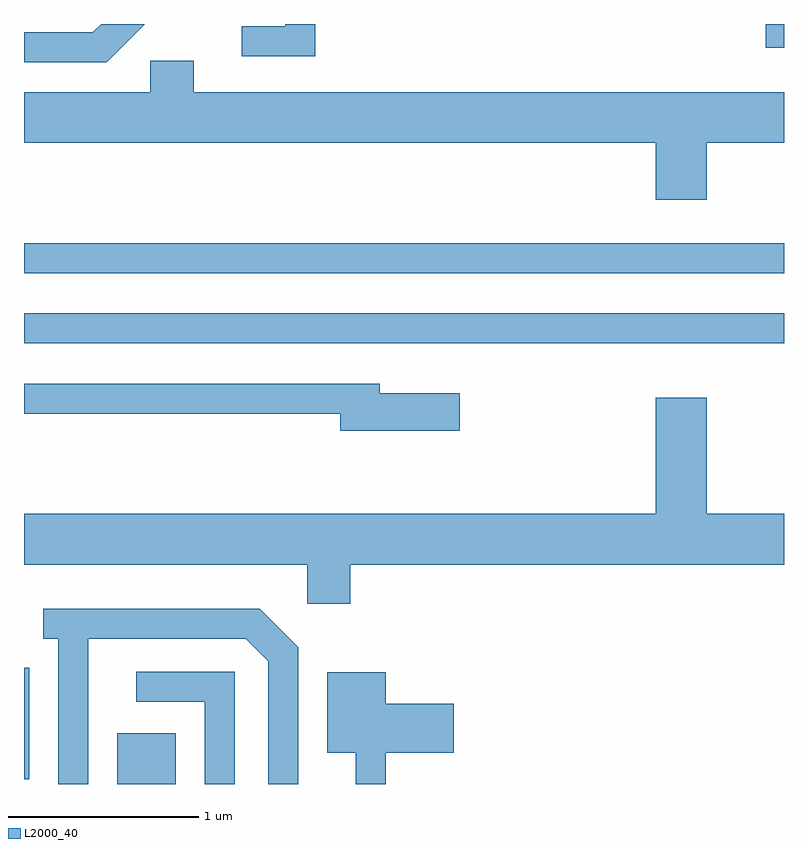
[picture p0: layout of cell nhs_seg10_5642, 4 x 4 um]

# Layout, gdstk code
import gdstk
lib = gdstk.Library(unit=1e-6, precision=1e-09)
def R(c, l, rs):  # rectangles x0, y0, x1, y1
    for r in rs: c.add(gdstk.rectangle(r[:2], r[2:], *l))
def P(c, l, *ps):  # polygons
    for p in ps: c.add(gdstk.Polygon(p, *l))
L2000_40 = (2000, 40)

nhs_seg10_5642 = lib.new_cell('nhs_seg10_5642')
R(nhs_seg10_5642, L2000_40, [(352.101,2130.522,352.409,2130.789), (351.611,2130.548,351.639,2131.134), (351.611,2132.841,355.611,2132.999), (351.611,2133.211,355.611,2133.369), (355.516,2134.396,355.611,2134.522)])
P(nhs_seg10_5642, L2000_40, [(353.144,2134.522),(352.986,2134.522),(352.986,2134.509),(352.758,2134.509),(352.758,2134.351),(353.144,2134.351)],
  [(352.247,2134.522),(352.017,2134.522),(351.974,2134.479),(351.611,2134.479),(351.611,2134.321),(352.047,2134.321)],
  [(355.204,2133.896),(355.611,2133.896),(355.611,2134.164),(352.504,2134.164),(352.504,2134.329),(352.276,2134.329),(352.276,2134.164),(351.611,2134.164),(351.611,2133.896),(354.936,2133.896),(354.936,2133.596),(355.204,2133.596)],
  [(353.904,2132.579),(353.484,2132.579),(353.484,2132.629),(351.611,2132.629),(351.611,2132.471),(353.276,2132.471),(353.276,2132.381),(353.904,2132.381)],
  [(353.329,2131.676),(355.611,2131.676),(355.611,2131.944),(355.204,2131.944),(355.204,2132.554),(354.936,2132.554),(354.936,2131.944),(351.611,2131.944),(351.611,2131.676),(353.101,2131.676),(353.101,2131.471),(353.329,2131.471)],
  [(351.949,2131.286),(352.779,2131.286),(352.896,2131.169),(352.896,2130.522),(353.054,2130.522),(353.054,2131.242),(352.852,2131.444),(351.713,2131.444),(351.713,2131.286),(351.791,2131.286),(351.791,2130.522),(351.949,2130.522)],
  [(352.719,2131.114),(352.203,2131.114),(352.203,2130.956),(352.561,2130.956),(352.561,2130.522),(352.719,2130.522)],
  [(353.514,2130.686),(353.874,2130.686),(353.874,2130.944),(353.514,2130.944),(353.514,2131.109),(353.206,2131.109),(353.206,2130.686),(353.356,2130.686),(353.356,2130.522),(353.514,2130.522)])

lib.write_gds('nhs_seg10_5642.gds')
